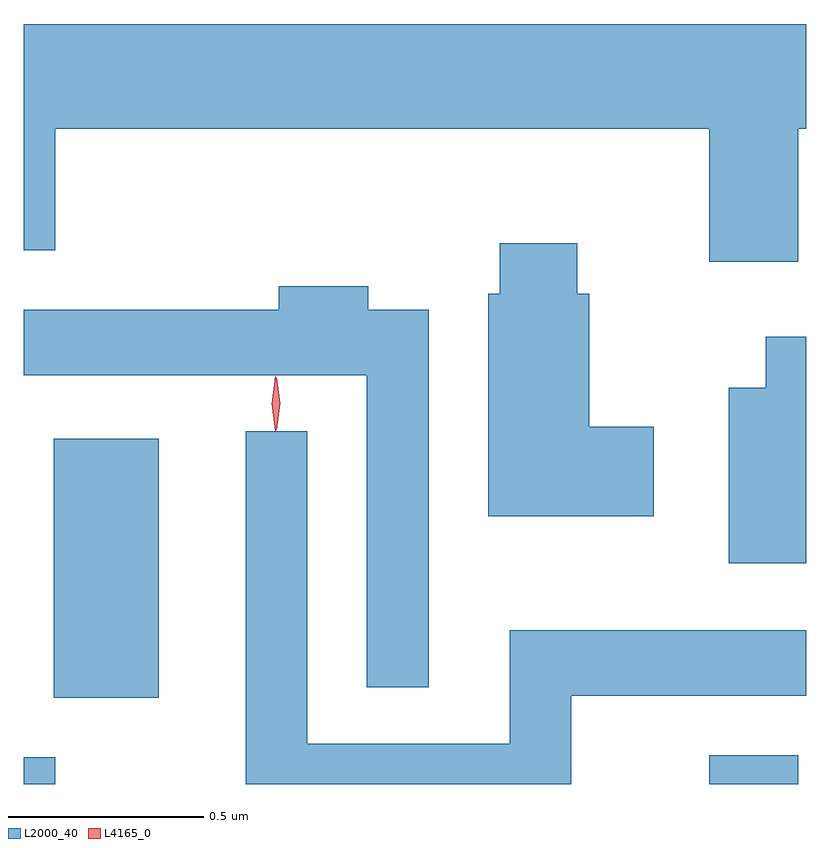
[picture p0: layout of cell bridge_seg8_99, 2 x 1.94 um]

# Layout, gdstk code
import gdstk
lib = gdstk.Library(unit=1e-6, precision=1e-09)
def R(c, l, rs):  # rectangles x0, y0, x1, y1
    for r in rs: c.add(gdstk.rectangle(r[:2], r[2:], *l))
def P(c, l, *ps):  # polygons
    for p in ps: c.add(gdstk.Polygon(p, *l))
L2000_40 = (2000, 40)
L4165_0 = (4165, 0)

bridge_seg8_99 = lib.new_cell('bridge_seg8_99')
R(bridge_seg8_99, L2000_40, [(1502.419,1816.981,1502.499,1817.049), (1504.171,1816.981,1504.399,1817.054), (1502.496,1817.201,1502.764,1817.864)])
P(bridge_seg8_99, L2000_40, [(1502.419,1818.346),(1502.499,1818.346),(1502.499,1818.656),(1504.171,1818.656),(1504.171,1818.316),(1504.399,1818.316),(1504.399,1818.656),(1504.419,1818.656),(1504.419,1818.924),(1502.419,1818.924)],
  [(1504.029,1817.894),(1503.864,1817.894),(1503.864,1818.234),(1503.834,1818.234),(1503.834,1818.364),(1503.636,1818.364),(1503.636,1818.234),(1503.606,1818.234),(1503.606,1817.666),(1504.029,1817.666)],
  [(1503.454,1818.194),(1503.299,1818.194),(1503.299,1818.254),(1503.071,1818.254),(1503.071,1818.194),(1502.419,1818.194),(1502.419,1818.026),(1503.296,1818.026),(1503.296,1817.228),(1503.454,1817.228)],
  [(1504.419,1818.124),(1504.316,1818.124),(1504.316,1817.994),(1504.221,1817.994),(1504.221,1817.546),(1504.419,1817.546)],
  [(1503.819,1817.206),(1504.419,1817.206),(1504.419,1817.374),(1503.661,1817.374),(1503.661,1817.084),(1503.144,1817.084),(1503.144,1817.883),(1502.986,1817.883),(1502.986,1816.981),(1503.819,1816.981)])
P(bridge_seg8_99, L4165_0, [(1503.064,1817.887),(1503.064,1817.887),(1503.054,1817.954),(1503.064,1818.02),(1503.064,1818.02),(1503.065,1818.02),(1503.074,1817.954),(1503.065,1817.887)],
  [(1503.062,1817.884),(1503.053,1817.953),(1503.062,1818.022),(1503.063,1818.023),(1503.063,1818.022),(1503.073,1817.953),(1503.063,1817.884),(1503.063,1817.884)])

lib.write_gds('bridge_seg8_99.gds')
